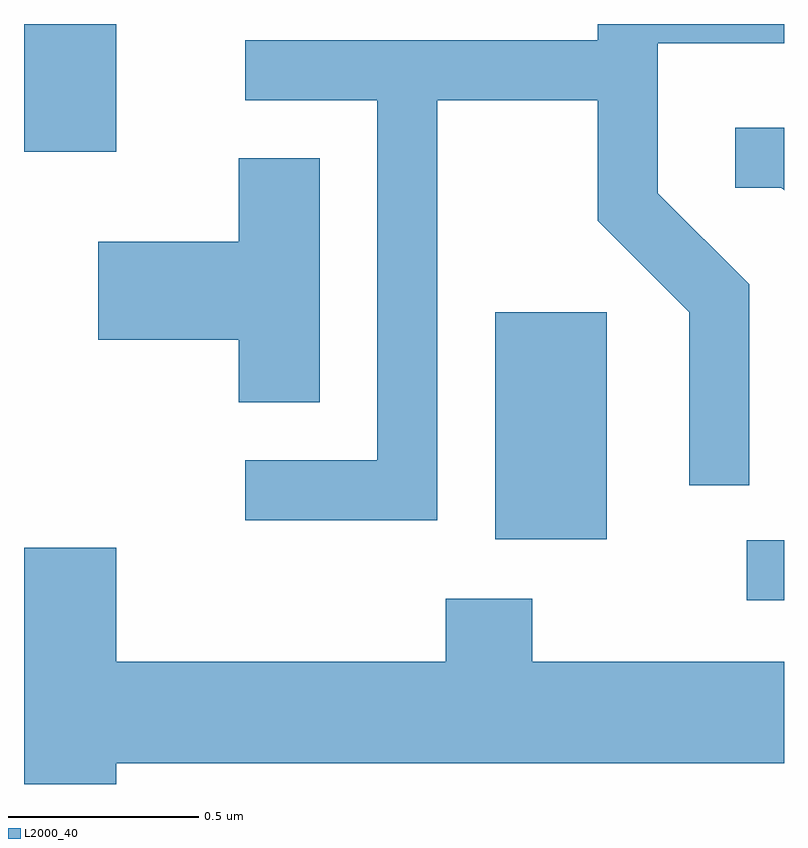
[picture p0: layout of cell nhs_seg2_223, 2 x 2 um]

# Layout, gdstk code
import gdstk
lib = gdstk.Library(unit=1e-6, precision=1e-09)
def R(c, l, rs):  # rectangles x0, y0, x1, y1
    for r in rs: c.add(gdstk.rectangle(r[:2], r[2:], *l))
def P(c, l, *ps):  # polygons
    for p in ps: c.add(gdstk.Polygon(p, *l))
L2000_40 = (2000, 40)

nhs_seg2_223 = lib.new_cell('nhs_seg2_223')
R(nhs_seg2_223, L2000_40, [(188.513,1064.286,188.611,1064.444), (187.851,1064.446,188.144,1065.044), (186.611,1065.466,186.854,1065.802)])
P(nhs_seg2_223, L2000_40, [(187.699,1065.601),(188.121,1065.601),(188.121,1065.284),(188.361,1065.044),(188.361,1064.588),(188.519,1064.588),(188.519,1065.117),(188.279,1065.357),(188.279,1065.751),(188.611,1065.751),(188.611,1065.802),(188.121,1065.802),(188.121,1065.759),(187.193,1065.759),(187.193,1065.601),(187.541,1065.601),(187.541,1064.654),(187.193,1064.654),(187.193,1064.496),(187.699,1064.496)],
  [(188.611,1065.529),(188.483,1065.529),(188.483,1065.371),(188.604,1065.371),(188.611,1065.364)],
  [(187.389,1065.449),(187.176,1065.449),(187.176,1065.229),(186.806,1065.229),(186.806,1064.971),(187.176,1064.971),(187.176,1064.806),(187.389,1064.806)],
  [(186.854,1063.856),(188.611,1063.856),(188.611,1064.124),(187.949,1064.124),(187.949,1064.289),(187.721,1064.289),(187.721,1064.124),(186.854,1064.124),(186.854,1064.424),(186.611,1064.424),(186.611,1063.802),(186.854,1063.802)])

lib.write_gds('nhs_seg2_223.gds')
